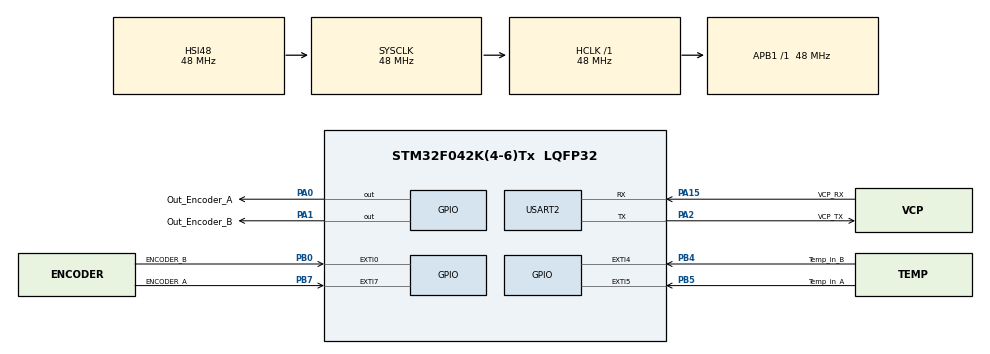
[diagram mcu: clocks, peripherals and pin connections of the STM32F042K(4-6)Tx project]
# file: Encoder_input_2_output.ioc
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Mcu.Family=STM32F0
Mcu.Name=STM32F042K(4-6)Tx
Mcu.Package=LQFP32
NVIC.EXTI0_1_IRQn=true\:0\:0\:false\:false\:true\:true\:true\:true
NVIC.EXTI4_15_IRQn=true\:0\:0\:false\:false\:true\:true\:true\:true
NVIC.TIM14_IRQn=true\:0\:0\:false\:false\:true\:true\:true\:true
PA0.GPIO_Label=Out_Encoder_A
PA0.GPIO_Speed=GPIO_SPEED_FREQ_HIGH
PA0.Signal=GPIO_Output
PA1.GPIO_Label=Out_Encoder_B
PA1.GPIO_Speed=GPIO_SPEED_FREQ_HIGH
PA1.Signal=GPIO_Output
PA13.GPIO_Label=SWDIO
PA13.Mode=Serial_Wire
PA13.Signal=SYS_SWDIO
PA14.GPIO_Label=SWCLK
PA14.Mode=Serial_Wire
PA14.Signal=SYS_SWCLK
PA15.GPIO_Label=VCP_RX
PA15.Mode=Asynchronous
PA15.Signal=USART2_RX
PA2.GPIO_Label=VCP_TX
PA2.Mode=Asynchronous
PA2.Signal=USART2_TX
PB0.GPIO_Label=ENCODER_B
PB0.GPIO_ModeDefaultEXTI=GPIO_MODE_IT_RISING_FALLING
PB0.Signal=GPXTI0
PB4.GPIO_Label=Temp_in_B
PB4.Signal=GPXTI4
PB5.GPIO_Label=Temp_in_A
PB5.Signal=GPXTI5
PB7.GPIO_Label=ENCODER_A
PB7.GPIO_ModeDefaultEXTI=GPIO_MODE_IT_RISING_FALLING
PB7.Signal=GPXTI7
PF0-OSC_IN.GPIO_Label=MCO
PF0-OSC_IN.Mode=HSE-External-Clock-Source
PF0-OSC_IN.Signal=RCC_OSC_IN
ProjectManager.HeapSize=0x200
ProjectManager.StackSize=0x400
ProjectManager.TargetToolchain=STM32CubeIDE
RCC.AHBFreq_Value=48000000
RCC.APB1Freq_Value=48000000
RCC.APB1TimFreq_Value=48000000
RCC.HCLKFreq_Value=48000000
RCC.PLLMUL=RCC_PLL_MUL6
RCC.PLLSourceVirtual=RCC_PLLSOURCE_HSE
RCC.SYSCLKFreq_VALUE=48000000
RCC.SYSCLKSource=RCC_SYSCLKSOURCE_HSI48
TIM14.Channel=TIM_CHANNEL_1
TIM14.Period=500-1
TIM14.Prescaler=48-1
TIM14.Pulse=250-1
USART2.VirtualMode-Asynchronous=VM_ASYNC
VP_TIM14_VS_ClockSourceINT.Mode=Enable_Timer
VP_TIM14_VS_no_output1.Mode=Output Compare1 No Output
board=NUCLEO-F042K6

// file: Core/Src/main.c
/* USER CODE BEGIN Header */
/**
  ******************************************************************************
  * @file           : main.c
  * @brief          : Main program body
  ******************************************************************************
  * @attention
  *
  * Copyright (c) 2023 STMicroelectronics.
  * All rights reserved.
  *
  * This software is licensed under terms that can be found in the LICENSE file
  * in the root directory of this software component.
  * If no LICENSE file comes with this software, it is provided AS-IS.
  *
  ******************************************************************************
  */
/* USER CODE END Header */
#include "main.h"

/* USER CODE BEGIN Includes */
#include "stdlib.h"
/* USER CODE END Includes */

/* USER CODE BEGIN PM */
#define OUTPUT_LOOPED_IN	1

#define COMPLETE_ROTATION_COUNT		20.48

#define FIRST_PROFILE_MIN_PULSE 22
#define FIRST_PROFILE_MAX_PULSE 24

#define SECOND_PROFILE_MIN_PULSE 67
#define SECOND_PROFILE_MAX_PULSE 69

#define THIRD_PROFILE_MIN_PULSE 114
#define THIRD_PROFILE_MAX_PULSE 116

#define FOURTH_PROFILE_MIN_PULSE 164
#define FOURTH_PROFILE_MAX_PULSE 166

/* USER CODE END PM */

TIM_HandleTypeDef htim14;

UART_HandleTypeDef huart2;

/* USER CODE BEGIN PV */
uint8_t pulse_profile[4] = {40, 27, 21, 14};

uint32_t base_sec_counter;		// will be holding milliseconds, so result will be x1000 for seconds

// 	encoder input variables
uint8_t old_enc_state, new_enc_state;

int32_t input_counter, input_counter_display, output_counter_A, output_counter_B;

float rotation_position;	//	will hold current position in complete rotation
uint16_t rotation_count;	// will hold total rotations executed till now

#if OUTPUT_LOOPED_IN == 1
uint8_t generated_out_enc_old_state, generated_out_enc_new_state;
int32_t generated_output;
#endif

/* USER CODE END PV */

void SystemClock_Config(void);
static void MX_GPIO_Init(void);
static void MX_USART2_UART_Init(void);
static void MX_TIM14_Init(void);
/* USER CODE BEGIN PFP */
void Interrupt_reader(uint16_t);
void set_base_sec_timer(uint32_t time);
void reset_input_counter(void);
/* USER CODE END PFP */

int main(void)
{

  /* MCU Configuration--------------------------------------------------------*/

  /* Reset of all peripherals, Initializes the Flash interface and the Systick. */
  HAL_Init();

  /* Configure the system clock */
  SystemClock_Config();

  /* Initialize all configured peripherals */
  MX_GPIO_Init();
  MX_USART2_UART_Init();
  MX_TIM14_Init();
  /* USER CODE BEGIN 2 */
  set_base_sec_timer(HAL_GetTick());
  HAL_TIM_IC_Start_IT(&htim14, TIM_CHANNEL_1);
  HAL_TIM_Base_Start_IT(&htim14);
  /* USER CODE END 2 */

  /* Infinite loop */
  /* USER CODE BEGIN WHILE */
  while (1)
  {
	  uint32_t current_time = HAL_GetTick();

//	  timer and counter reset logic
	  if(current_time - base_sec_counter > 7000){
		  set_base_sec_timer(current_time);
		  reset_input_counter();
	  }
	  rotation_position = input_counter/(float)COMPLETE_ROTATION_COUNT;

    /* USER CODE END WHILE */

  }
}

void SystemClock_Config(void)
{
  RCC_OscInitTypeDef RCC_OscInitStruct = {0};
  RCC_ClkInitTypeDef RCC_ClkInitStruct = {0};

  /** Initializes the RCC Oscillators according to the specified parameters
  * in the RCC_OscInitTypeDef structure.
  */
  RCC_OscInitStruct.OscillatorType = RCC_OSCILLATORTYPE_HSI48;
  RCC_OscInitStruct.HSI48State = RCC_HSI48_ON;
  RCC_OscInitStruct.PLL.PLLState = RCC_PLL_NONE;
  if (HAL_RCC_OscConfig(&RCC_OscInitStruct) != HAL_OK)
  {
    Error_Handler();
  }

  /** Initializes the CPU, AHB and APB buses clocks
  */
  RCC_ClkInitStruct.ClockType = RCC_CLOCKTYPE_HCLK|RCC_CLOCKTYPE_SYSCLK
                              |RCC_CLOCKTYPE_PCLK1;
  RCC_ClkInitStruct.SYSCLKSource = RCC_SYSCLKSOURCE_HSI48;
  RCC_ClkInitStruct.AHBCLKDivider = RCC_SYSCLK_DIV1;
  RCC_ClkInitStruct.APB1CLKDivider = RCC_HCLK_DIV1;

  if (HAL_RCC_ClockConfig(&RCC_ClkInitStruct, FLASH_LATENCY_1) != HAL_OK)
  {
    Error_Handler();
  }
}

static void MX_TIM14_Init(void)
{

  TIM_OC_InitTypeDef sConfigOC = {0};

  htim14.Instance = TIM14;
  htim14.Init.Prescaler = 48-1;
  htim14.Init.CounterMode = TIM_COUNTERMODE_UP;
  htim14.Init.Period = 500-1;
  htim14.Init.ClockDivision = TIM_CLOCKDIVISION_DIV1;
  htim14.Init.AutoReloadPreload = TIM_AUTORELOAD_PRELOAD_DISABLE;
  if (HAL_TIM_Base_Init(&htim14) != HAL_OK)
  {
    Error_Handler();
  }
  if (HAL_TIM_OC_Init(&htim14) != HAL_OK)
  {
    Error_Handler();
  }
  sConfigOC.OCMode = TIM_OCMODE_TIMING;
  sConfigOC.Pulse = 250-1;
  sConfigOC.OCPolarity = TIM_OCPOLARITY_HIGH;
  sConfigOC.OCFastMode = TIM_OCFAST_DISABLE;
  if (HAL_TIM_OC_ConfigChannel(&htim14, &sConfigOC, TIM_CHANNEL_1) != HAL_OK)
  {
    Error_Handler();
  }

}

static void MX_USART2_UART_Init(void)
{

  huart2.Instance = USART2;
  huart2.Init.BaudRate = 38400;
  huart2.Init.WordLength = UART_WORDLENGTH_8B;
  huart2.Init.StopBits = UART_STOPBITS_1;
  huart2.Init.Parity = UART_PARITY_NONE;
  huart2.Init.Mode = UART_MODE_TX_RX;
  huart2.Init.HwFlowCtl = UART_HWCONTROL_NONE;
  huart2.Init.OverSampling = UART_OVERSAMPLING_16;
  huart2.Init.OneBitSampling = UART_ONE_BIT_SAMPLE_DISABLE;
  huart2.AdvancedInit.AdvFeatureInit = UART_ADVFEATURE_NO_INIT;
  if (HAL_UART_Init(&huart2) != HAL_OK)
  {
    Error_Handler();
  }

}

static void MX_GPIO_Init(void)
{
  GPIO_InitTypeDef GPIO_InitStruct = {0};

  /* GPIO Ports Clock Enable */
  __HAL_RCC_GPIOF_CLK_ENABLE();
  __HAL_RCC_GPIOA_CLK_ENABLE();
  __HAL_RCC_GPIOB_CLK_ENABLE();

  /*Configure GPIO pin Output Level */
  HAL_GPIO_WritePin(GPIOA, Out_Encoder_A_Pin|Out_Encoder_B_Pin, GPIO_PIN_RESET);

  /*Configure GPIO pins : Out_Encoder_A_Pin Out_Encoder_B_Pin */
  GPIO_InitStruct.Pin = Out_Encoder_A_Pin|Out_Encoder_B_Pin;
  GPIO_InitStruct.Mode = GPIO_MODE_OUTPUT_PP;
  GPIO_InitStruct.Pull = GPIO_NOPULL;
  GPIO_InitStruct.Speed = GPIO_SPEED_FREQ_HIGH;
  HAL_GPIO_Init(GPIOA, &GPIO_InitStruct);

  /*Configure GPIO pins : ENCODER_B_Pin ENCODER_A_Pin */
  GPIO_InitStruct.Pin = ENCODER_B_Pin|ENCODER_A_Pin;
  GPIO_InitStruct.Mode = GPIO_MODE_IT_RISING_FALLING;
  GPIO_InitStruct.Pull = GPIO_NOPULL;
  HAL_GPIO_Init(GPIOB, &GPIO_InitStruct);

  /*Configure GPIO pins : Temp_in_B_Pin Temp_in_A_Pin */
  GPIO_InitStruct.Pin = Temp_in_B_Pin|Temp_in_A_Pin;
  GPIO_InitStruct.Mode = GPIO_MODE_IT_RISING;
  GPIO_InitStruct.Pull = GPIO_NOPULL;
  HAL_GPIO_Init(GPIOB, &GPIO_InitStruct);

  /* EXTI interrupt init*/
  HAL_NVIC_SetPriority(EXTI0_1_IRQn, 0, 0);
  HAL_NVIC_EnableIRQ(EXTI0_1_IRQn);

  HAL_NVIC_SetPriority(EXTI4_15_IRQn, 0, 0);
  HAL_NVIC_EnableIRQ(EXTI4_15_IRQn);

}

/* USER CODE BEGIN 4 */

void Interrupt_reader(uint16_t Gpio_pin) {
	/*
	 * states
	 * 	+---+----+
	 * 	|A	|	B|
	 * 	+---+----+
	 * 	|0	|	0|
	 * 	|0	|	1|
	 * 	|1	|	1|
	 * 	|1	|	0|
	 * 	|0	|	0|
	 * 	+---+----+
	 */
	if (Gpio_pin == ENCODER_A_Pin || Gpio_pin == ENCODER_B_Pin) {

		new_enc_state = HAL_GPIO_ReadPin(ENCODER_A_GPIO_Port, ENCODER_A_Pin) << 1 | HAL_GPIO_ReadPin(ENCODER_B_GPIO_Port, ENCODER_B_Pin);

		if (old_enc_state == 0 && new_enc_state == 1) {
			input_counter++;
		} else if (old_enc_state == 1 && new_enc_state == 3) {
			input_counter++;
		} else if (old_enc_state == 3 && new_enc_state == 2) {
			input_counter++;
		} else if (old_enc_state == 2 && new_enc_state == 0) {
			input_counter++;
		} else if (old_enc_state == 0 && new_enc_state == 2) {
			input_counter--;
		} else if (old_enc_state == 2 && new_enc_state == 3) {
			input_counter--;
		} else if (old_enc_state == 3 && new_enc_state == 1) {
			input_counter--;
		} else if (old_enc_state == 1 && new_enc_state == 0) {
			input_counter--;
		}
		if((input_counter % pulse_profile[3]) == 0){
			input_counter++;
		}
		old_enc_state = new_enc_state;
		set_base_sec_timer(HAL_GetTick());
	}

#if	OUTPUT_LOOPED_IN == 1
	if (Gpio_pin == Temp_in_A_Pin || Gpio_pin == Temp_in_B_Pin) {

		generated_out_enc_new_state = HAL_GPIO_ReadPin(Temp_in_A_GPIO_Port, Temp_in_A_Pin) << 1 | HAL_GPIO_ReadPin(Temp_in_B_GPIO_Port, Temp_in_B_Pin);

		if (generated_out_enc_old_state == 0 && generated_out_enc_new_state == 1) {
			generated_output++;
		} else if (generated_out_enc_old_state == 1 && generated_out_enc_new_state == 3) {
			generated_output++;
		} else if (generated_out_enc_old_state == 3 && generated_out_enc_new_state == 2) {
			generated_output++;
		} else if (generated_out_enc_old_state == 2 && generated_out_enc_new_state == 0) {
			generated_output++;
		} else if (generated_out_enc_old_state == 0 && generated_out_enc_new_state == 2) {
			generated_output--;
		} else if (generated_out_enc_old_state == 2 && generated_out_enc_new_state == 3) {
			generated_output--;
		} else if (generated_out_enc_old_state == 3 && generated_out_enc_new_state == 1) {
			generated_output--;
		} else if (generated_out_enc_old_state == 1 && generated_out_enc_new_state == 0) {
			generated_output--;
		}
		generated_out_enc_old_state = generated_out_enc_new_state;
	}
#endif
}

void HAL_TIM_OC_DelayElapsedCallback(TIM_HandleTypeDef *htim){
	if(htim == &htim14){
		if(output_counter_A < input_counter){
			HAL_GPIO_TogglePin(Out_Encoder_A_GPIO_Port, Out_Encoder_A_Pin);
			output_counter_A++;
		}
	}
}

void HAL_TIM_PeriodElapsedCallback(TIM_HandleTypeDef *htim){
	if(htim == &htim14){
		if(output_counter_B < input_counter){
			HAL_GPIO_TogglePin(Out_Encoder_B_GPIO_Port, Out_Encoder_B_Pin);
			output_counter_B++;
		}
	}
}

void HAL_GPIO_EXTI_Callback(uint16_t GPIO_Pin){
	Interrupt_reader(GPIO_Pin);
}

void set_base_sec_timer(uint32_t time){
	base_sec_counter = time;
}

void reset_input_counter(void){
	input_counter = 0;
}
/* USER CODE END 4 */

void Error_Handler(void)
{
  __disable_irq();
  while (1)
  {
  }
}
